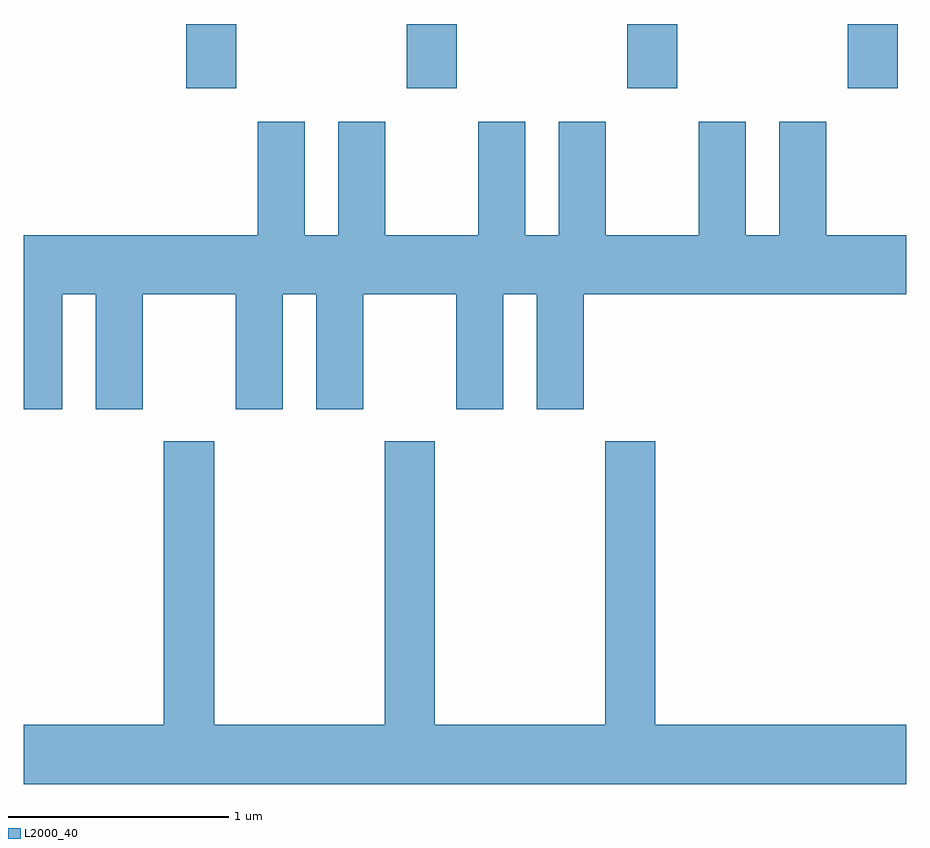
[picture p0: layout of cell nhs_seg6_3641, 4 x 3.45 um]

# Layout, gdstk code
import gdstk
lib = gdstk.Library(unit=1e-6, precision=1e-09)
def R(c, l, rs):  # rectangles x0, y0, x1, y1
    for r in rs: c.add(gdstk.rectangle(r[:2], r[2:], *l))
def A(c, l, x, y, w, h, nx, ny, dx, dy):  # array of equal rectangles
    R(c, l, [(x+i*dx, y+j*dy, x+i*dx+w, y+j*dy+h) for i in range(nx) for j in range(ny)])
def P(c, l, *ps):  # polygons
    for p in ps: c.add(gdstk.Polygon(p, *l))
L2000_40 = (2000, 40)

nhs_seg6_3641 = lib.new_cell('nhs_seg6_3641')
A(nhs_seg6_3641, L2000_40, 296.346, 1539.871, 0.228, 0.291, 4, 1, 1, 0)
P(nhs_seg6_3641, L2000_40, [(297.571,1538.416),(297.784,1538.416),(297.784,1538.936),(297.936,1538.936),(297.936,1538.416),(298.149,1538.416),(298.149,1538.936),(299.611,1538.936),(299.611,1539.204),(299.249,1539.204),(299.249,1539.719),(299.036,1539.719),(299.036,1539.204),(298.884,1539.204),(298.884,1539.719),(298.671,1539.719),(298.671,1539.204),(298.249,1539.204),(298.249,1539.719),(298.036,1539.719),(298.036,1539.204),(297.884,1539.204),(297.884,1539.719),(297.671,1539.719),(297.671,1539.204),(297.249,1539.204),(297.249,1539.719),(297.036,1539.719),(297.036,1539.204),(296.884,1539.204),(296.884,1539.719),(296.671,1539.719),(296.671,1539.204),(295.611,1539.204),(295.611,1538.416),(295.784,1538.416),(295.784,1538.936),(295.936,1538.936),(295.936,1538.416),(296.149,1538.416),(296.149,1538.936),(296.571,1538.936),(296.571,1538.416),(296.784,1538.416),(296.784,1538.936),(296.936,1538.936),(296.936,1538.416),(297.149,1538.416),(297.149,1538.936),(297.571,1538.936)],
  [(299.611,1536.984),(298.474,1536.984),(298.474,1538.269),(298.246,1538.269),(298.246,1536.984),(297.474,1536.984),(297.474,1538.269),(297.246,1538.269),(297.246,1536.984),(296.474,1536.984),(296.474,1538.269),(296.246,1538.269),(296.246,1536.984),(295.611,1536.984),(295.611,1536.716),(299.611,1536.716)])

lib.write_gds('nhs_seg6_3641.gds')
